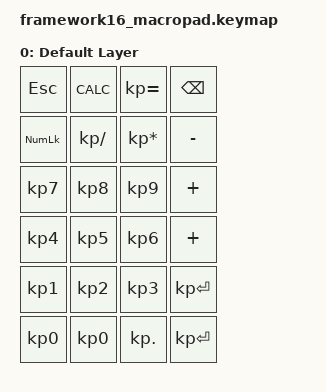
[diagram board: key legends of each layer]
/*
 * Copyright (c) 2025 The ZMK Contributors
 *
 * SPDX-License-Identifier: MIT
 */

#include "framework16.dtsi"

#include <behaviors.dtsi>
#include <dt-bindings/zmk/keys.h>
#include <dt-bindings/zmk/rgb.h>

/ {
    keymap {
        compatible = "zmk,keymap";
        default_layer {
            display-name = "Default Layer";
            // ┌────┬────┬────┬────┐
            // │Esc │Calc│ =  │ <- │
            // ├────┼────┼────┼────┤
            // │Num │ /  │ *  │ -  │
            // ├────┼────┼────┼────┤
            // │ 7  │ 8  │ 9  │ +  │
            // ├────┼────┼────┤────┤
            // │ 4  │ 5  │ 6  │ +  │
            // ├────┼────┼────┼────┤
            // │ 1  │ 2  │ 3  │Entr│
            // ├────┼────┼────┤────┤
            // │ 0  │ 0  │ .  │Entr│
            // └────┴────┴────┴────┴
            bindings = <
                &kp ESC      &kp K_CALC   &kp KP_EQUAL    &kp BACKSPACE
                &kp KP_NUM   &kp KP_SLASH &kp KP_ASTERISK &kp MINUS
                &kp KP_N7    &kp KP_N8    &kp KP_N9       &kp PLUS
                &kp KP_N4    &kp KP_N5    &kp KP_N6       &kp PLUS
                &kp KP_N1    &kp KP_N2    &kp KP_N3       &kp KP_ENTER
                &kp KP_N0    &kp KP_N0    &kp KP_DOT      &kp KP_ENTER
           >;
        };
    };
};
